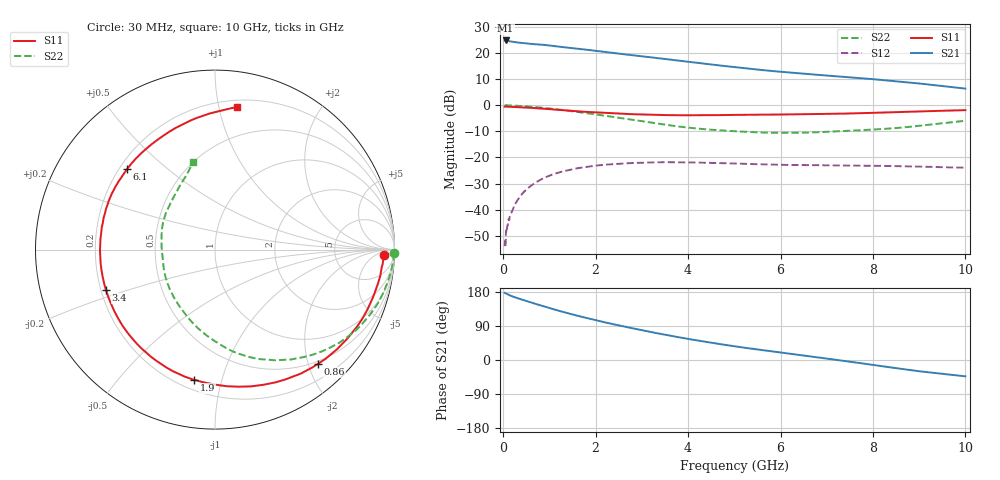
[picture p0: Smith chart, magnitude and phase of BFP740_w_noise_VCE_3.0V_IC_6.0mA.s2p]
! Infineon Technologies  Discrete & RF Semiconductors
! BFP740
! VCE =  3.0 V,  IC =  6.0 mA
! Common Emitter S-Parameters:  Jan 2016
# GHz  S  MA  R  50
!  f  S11  S21  S12  S22
! GHz  MAG  ANG  MAG  ANG  MAG  ANG  MAG  ANG
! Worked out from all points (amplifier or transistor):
!   229 points, 30 MHz to 10 GHz, reference 50 ohm
!   highest |S21| = 24.8 dB at 50 MHz (marker M1)
!   |S21| within 3 dB of that: start of sweep to 1.522 GHz
!   unconditionally stable (mu >= 1): 7.697 GHz to end of sweep
!   at 280 MHz: K = 0.11, MSG = 30.6 dB, |S12| = -37.2 dB
!   at 1.78 GHz: K = 0.25, MSG = 22.5 dB, |S12| = -23.7 dB
!   at 10 GHz: K = 1.14, MAG = 12.9 dB, |S12| = -23.9 dB
!   lowest NFmin = 0.45 dB at 450 MHz
!   S11 on the Smith chart (normalised r, x): 30 MHz: 26, -13; 860 MHz: 0.45, -2.17; 1.9 GHz: 0.26, -0.82; 3.4 GHz: 0.22, -0.17; 6.1 GHz: 0.23, +0.37; 10 GHz: 0.25, +1.13
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0.03  0.9399 -1.8  17.22 177.2  0.002 75.5  0.9973 -1.2
0.05  0.9401 -2.9  17.32 176.2  0.002 101.0  0.9968 -2.2
0.06  0.9388 -3.6  17.24 175.2  0.004 90.9  0.9977 -2.5
0.13  0.9327 -7.8  16.83 171.1  0.0063 90.4  0.9915 -5.4
0.26  0.9215 -15.2  16.09 165.1  0.0129 79.7  0.9794 -10.4
0.6  0.8886 -33.9  14.92 151.9  0.0286 69.3  0.936 -22.9
0.86  0.8567 -48.0  14.29 142.2  0.0395 60.3  0.8917 -32.0
1.1  0.8261 -60.5  13.56 133.5  0.0483 53.1  0.8444 -40.1
1.3  0.7997 -70.4  12.89 126.7  0.0543 47.6  0.8039 -46.5
1.7  0.7527 -89.9  11.81 114.0  0.0638 37.5  0.7216 -58.3
1.9  0.7349 -99.1  11.26 108.1  0.0679 33.2  0.683 -64.0
2.3  0.7019 -116.9  10.21 96.5  0.0736 24.5  0.6087 -75.1
2.54  0.6864 -126.5  9.601 90.3  0.0761 20.0  0.5677 -81.2
2.98  0.6624 -143.9  8.649 79.1  0.0791 12.6  0.4941 -93.0
3.4  0.6477 -159.7  7.837 69.0  0.0806 6.0  0.436 -104.8
3.8  0.6417 -173.3  7.122 60.0  0.0807 0.6  0.3892 -116.5
4.3  0.6406 171.7  6.306 49.4  0.0794 -5.5  0.3499 -131.3
5.1  0.652 153.4  5.228 34.5  0.0761 -12.7  0.314 -151.9
6.1  0.6649 137.4  4.279 18.2  0.0719 -17.8  0.2951 -175.2
6.8  0.6768 127.0  3.809 7.0  0.0709 -21.2  0.3033 168.9
8.4  0.7306 101.2  2.922 -19.8  0.0684 -28.5  0.3586 133.6
10  0.8028 81.4  2.075 -43.1  0.0635 -32.7  0.5027 104.1
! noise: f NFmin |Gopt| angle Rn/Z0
0.45  0.45  0.36  10  0.21
0.9  0.46  0.37  17  0.2
1.5  0.49  0.35  25  0.19
1.9  0.52  0.34  42  0.19
2.4  0.55  0.34  46  0.18
3.5  0.65  0.31  66  0.17
5.5  0.86  0.22  171  0.15
10  1.45  0.54  -80  0.2
